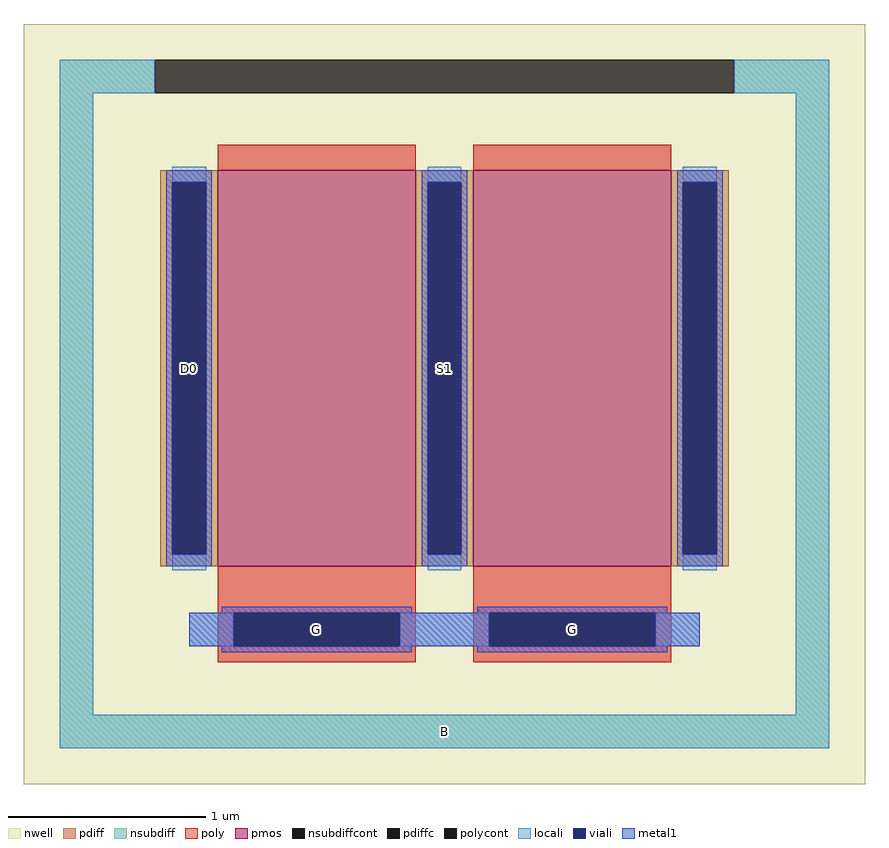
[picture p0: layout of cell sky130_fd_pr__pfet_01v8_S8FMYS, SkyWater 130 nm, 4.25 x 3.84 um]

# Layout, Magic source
magic
tech sky130A
magscale 1 2
<< nwell >>
rect -425 -384 425 384
<< pmos >>
rect -229 -164 -29 236
rect 29 -164 229 236
<< pdiff >>
rect -287 224 -229 236
rect -287 -152 -275 224
rect -241 -152 -229 224
rect -287 -164 -229 -152
rect -29 224 29 236
rect -29 -152 -17 224
rect 17 -152 29 224
rect -29 -164 29 -152
rect 229 224 287 236
rect 229 -152 241 224
rect 275 -152 287 224
rect 229 -164 287 -152
<< pdiffc >>
rect -275 -152 -241 224
rect -17 -152 17 224
rect 241 -152 275 224
<< nsubdiff >>
rect -389 314 -293 348
rect 293 314 389 348
rect -389 -314 -355 314
rect 355 -314 389 314
rect -389 -348 389 -314
<< nsubdiffcont >>
rect -293 314 293 348
<< poly >>
rect -229 236 -29 262
rect 29 236 229 262
rect -229 -211 -29 -164
rect -229 -245 -213 -211
rect -45 -245 -29 -211
rect -229 -261 -29 -245
rect 29 -211 229 -164
rect 29 -245 45 -211
rect 213 -245 229 -211
rect 29 -261 229 -245
<< polycont >>
rect -213 -245 -45 -211
rect 45 -245 213 -211
<< locali >>
rect -389 314 -293 348
rect 293 314 389 348
rect -389 -314 -355 314
rect -275 224 -241 240
rect -275 -168 -241 -152
rect -17 224 17 240
rect -17 -168 17 -152
rect 241 224 275 240
rect 241 -168 275 -152
rect -258 -245 -213 -211
rect -45 -245 45 -211
rect 213 -245 258 -211
rect 355 -314 389 314
rect -389 -348 389 -314
<< viali >>
rect -275 -152 -241 224
rect -17 -152 17 224
rect 241 -152 275 224
rect -213 -245 -45 -211
rect 45 -245 213 -211
<< metal1 >>
rect -281 224 -235 236
rect -281 -152 -275 224
rect -241 -152 -235 224
rect -281 -164 -235 -152
rect -23 224 23 236
rect -23 -152 -17 224
rect 17 -152 23 224
rect -23 -164 23 -152
rect 235 224 281 236
rect 235 -152 241 224
rect 275 -152 281 224
rect 235 -164 281 -152
rect -225 -211 -33 -205
rect 33 -211 225 -205
rect -258 -245 -213 -211
rect -45 -245 45 -211
rect 213 -245 258 -211
rect -225 -251 -33 -245
rect 33 -251 225 -245
<< labels >>
rlabel nsubdiff 0 -331 0 -331 0 B
port 1 nsew
rlabel pdiffc -258 36 -258 36 0 D0
port 2 nsew
rlabel polycont -129 -228 -129 -228 0 G
port 3 nsew
rlabel pdiffc 0 36 0 36 0 S1
port 4 nsew
rlabel polycont 129 -228 129 -228 0 G
port 3 nsew
<< properties >>
string FIXED_BBOX -372 -331 372 331
string gencell sky130_fd_pr__pfet_01v8
string library sky130
string parameters w 2 l 1 m 1 nf 2 diffcov 100 polycov 100 guard 1 glc 0 grc 0 gtc 1 gbc 0 tbcov 100 rlcov 100 topc 0 botc 1 poverlap 0 doverlap 1 lmin 0.15 wmin 0.42 class mosfet compatible {sky130_fd_pr__pfet_01v8  sky130_fd_pr__pfet_01v8_lvt sky130_fd_pr__pfet_01v8_hvt  sky130_fd_pr__pfet_g5v0d10v5} full_metal 1 conn_gates 1 viasrc 100 viadrn 100 viagate 100 viagb 0 viagr 0 viagl 0 viagt 0 doports 1
<< end >>
